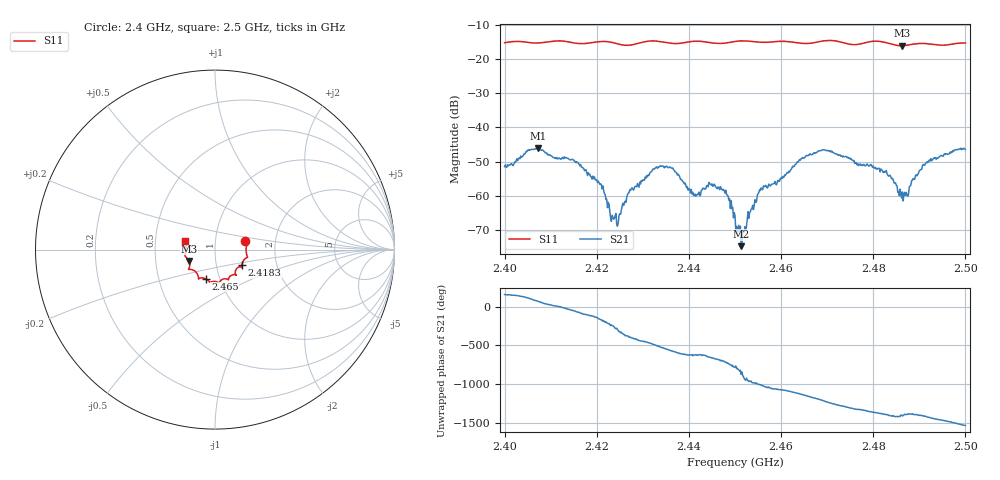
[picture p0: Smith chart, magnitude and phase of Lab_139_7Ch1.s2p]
# Hz S RI R 50
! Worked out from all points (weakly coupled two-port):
!   601 points, 2.4 GHz to 2.5 GHz, reference 50 ohm
!   highest |S21| = -46.09 dB at 2.4073 GHz (marker M1); lowest = -74.8 dB at 2.4513 GHz (marker M2)
!   lowest |S11| = -16.0 dB at 2.4862 GHz (marker M3), VSWR 1.37, Z = 37.1 - j4.83 ohm
!   |S11| at or under -10 dB: start of sweep to end of sweep
!   S12 and S22 are empty: the file has one direction only
!   S11 on the Smith chart (normalised r, x): 2.4 GHz: 1.40, +0.13; 2.4183 GHz: 1.33, -0.24; 2.465 GHz: 0.86, -0.29; 2.5 GHz: 0.71, +0.07
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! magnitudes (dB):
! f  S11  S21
! 2.4 GHz  -15.1  -51.5
! 2.4073 GHz  -15.2  -46.1
! 2.4167 GHz  -15.4  -51.6
! 2.4183 GHz  -15.2  -53.8
! 2.4208 GHz  -14.8  -56.5
! 2.4242 GHz  -15.4  -65.2
! 2.4272 GHz  -15.9  -58.3
! 2.4333 GHz  -14.7  -51.6
! 2.4363 GHz  -15.3  -51.9
! 2.4412 GHz  -14.7  -60.0
! 2.4445 GHz  -15.1  -56.5
! 2.4475 GHz  -15.3  -58.2
! 2.45 GHz  -14.8  -65.9
! 2.4513 GHz  -14.6  -74.8
! 2.4557 GHz  -15.0  -57.7
! 2.465 GHz  -15.4  -48.9
! 2.4667 GHz  -15.3  -48.0
! 2.4705 GHz  -14.5  -47.0
! 2.4833 GHz  -15.3  -54.3
! 2.4862 GHz  -16.0  -60.7
! 2.492 GHz  -15.5  -49.9
! 2.5 GHz  -15.2  -46.5
